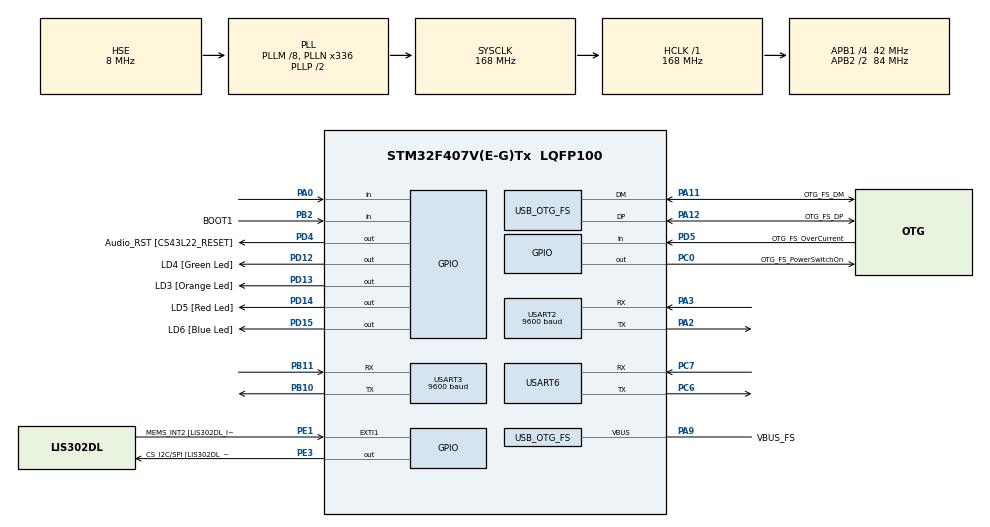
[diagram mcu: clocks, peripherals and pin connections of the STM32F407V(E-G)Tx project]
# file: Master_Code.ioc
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Mcu.Family=STM32F4
Mcu.Name=STM32F407V(E-G)Tx
Mcu.Package=LQFP100
NVIC.OTG_FS_IRQn=true\:0\:0\:false\:false\:true\:true\:true
NVIC.PriorityGroup=NVIC_PRIORITYGROUP_0
NVIC.TIM5_IRQn=true\:0\:0\:false\:false\:true\:true\:true
NVIC.USART3_IRQn=true\:0\:0\:false\:false\:true\:true\:true
NVIC.USART6_IRQn=true\:0\:0\:false\:false\:true\:true\:true
PA0-WKUP.Signal=GPIO_Input
PA11.GPIO_Label=OTG_FS_DM
PA11.GPIO_Mode=GPIO_MODE_AF_PP
PA11.GPIO_PuPd=GPIO_NOPULL
PA11.GPIO_Speed=GPIO_SPEED_FREQ_LOW
PA11.Mode=Host_Only
PA11.Signal=USB_OTG_FS_DM
PA12.GPIO_Label=OTG_FS_DP
PA12.GPIO_Mode=GPIO_MODE_AF_PP
PA12.GPIO_PuPd=GPIO_NOPULL
PA12.GPIO_Speed=GPIO_SPEED_FREQ_LOW
PA12.Mode=Host_Only
PA12.Signal=USB_OTG_FS_DP
PA13.GPIO_Label=SWDIO
PA13.Mode=Serial_Wire
PA13.Signal=SYS_JTMS-SWDIO
PA14.GPIO_Label=SWCLK
PA14.Mode=Serial_Wire
PA14.Signal=SYS_JTCK-SWCLK
PA2.Mode=Asynchronous
PA2.Signal=USART2_TX
PA3.Mode=Asynchronous
PA3.Signal=USART2_RX
PA9.GPIO_Label=VBUS_FS
PA9.GPIO_Mode=GPIO_MODE_INPUT
PA9.GPIO_PuPd=GPIO_NOPULL
PA9.Mode=Activate_VBUS
PA9.Signal=USB_OTG_FS_VBUS
PB10.Mode=Asynchronous
PB10.Signal=USART3_TX
PB11.Mode=Asynchronous
PB11.Signal=USART3_RX
PB2.GPIO_Label=BOOT1
PB2.GPIO_Mode=GPIO_MODE_INPUT
PB2.GPIO_PuPd=GPIO_NOPULL
PB2.Signal=GPIO_Input
PC0.GPIO_Label=OTG_FS_PowerSwitchOn
PC0.GPIO_PuPd=GPIO_NOPULL
PC0.GPIO_Speed=GPIO_SPEED_FREQ_LOW
PC0.PinState=GPIO_PIN_SET
PC0.Signal=GPIO_Output
PC14-OSC32_IN.GPIO_Label=PC14-OSC32_IN
PC14-OSC32_IN.Mode=LSE-External-Oscillator
PC14-OSC32_IN.Signal=RCC_OSC32_IN
PC15-OSC32_OUT.GPIO_Label=PC15-OSC32_OUT
PC15-OSC32_OUT.Mode=LSE-External-Oscillator
PC15-OSC32_OUT.Signal=RCC_OSC32_OUT
PC6.Mode=Asynchronous
PC6.Signal=USART6_TX
PC7.Mode=Asynchronous
PC7.Signal=USART6_RX
PD12.GPIO_Label=LD4 [Green Led]
PD12.GPIO_PuPd=GPIO_NOPULL
PD12.GPIO_Speed=GPIO_SPEED_FREQ_LOW
PD12.Signal=GPIO_Output
PD13.GPIO_Label=LD3 [Orange Led]
PD13.GPIO_PuPd=GPIO_NOPULL
PD13.GPIO_Speed=GPIO_SPEED_FREQ_LOW
PD13.Signal=GPIO_Output
PD14.GPIO_Label=LD5 [Red Led]
PD14.GPIO_PuPd=GPIO_NOPULL
PD14.GPIO_Speed=GPIO_SPEED_FREQ_LOW
PD14.Signal=GPIO_Output
PD15.GPIO_Label=LD6 [Blue Led]
PD15.GPIO_PuPd=GPIO_NOPULL
PD15.GPIO_Speed=GPIO_SPEED_FREQ_LOW
PD15.Signal=GPIO_Output
PD4.GPIO_Label=Audio_RST [CS43L22_RESET]
PD4.GPIO_PuPd=GPIO_NOPULL
PD4.GPIO_Speed=GPIO_SPEED_FREQ_LOW
PD4.Signal=GPIO_Output
PD5.GPIO_Label=OTG_FS_OverCurrent
PD5.GPIO_Mode=GPIO_MODE_INPUT
PD5.GPIO_PuPd=GPIO_NOPULL
PD5.Signal=GPIO_Input
PE1.GPIO_Label=MEMS_INT2 [LIS302DL_INT2]
PE1.GPIO_ModeDefaultEXTI=GPIO_MODE_EVT_RISING
PE1.GPIO_PuPd=GPIO_NOPULL
PE1.Signal=GPXTI1
PE3.GPIO_Label=CS_I2C/SPI [LIS302DL_CS_I2C/SPI]
PE3.GPIO_PuPd=GPIO_NOPULL
PE3.GPIO_Speed=GPIO_SPEED_FREQ_LOW
PE3.Signal=GPIO_Output
PH0-OSC_IN.GPIO_Label=PH0-OSC_IN
PH0-OSC_IN.Mode=HSE-External-Oscillator
PH0-OSC_IN.Signal=RCC_OSC_IN
PH1-OSC_OUT.GPIO_Label=PH1-OSC_OUT
PH1-OSC_OUT.Mode=HSE-External-Oscillator
PH1-OSC_OUT.Signal=RCC_OSC_OUT
ProjectManager.HeapSize=0x200
ProjectManager.StackSize=0x400
ProjectManager.TargetToolchain=STM32CubeIDE
RCC.48MHZClocksFreq_Value=48000000
RCC.AHBFreq_Value=168000000
RCC.APB1CLKDivider=RCC_HCLK_DIV4
RCC.APB1Freq_Value=42000000
RCC.APB1TimFreq_Value=84000000
RCC.APB2CLKDivider=RCC_HCLK_DIV2
RCC.APB2Freq_Value=84000000
RCC.APB2TimFreq_Value=168000000
RCC.CortexFreq_Value=168000000
RCC.HCLKFreq_Value=168000000
RCC.HSE_VALUE=8000000
RCC.HSI_VALUE=16000000
RCC.PLLM=8
RCC.PLLN=336
RCC.PLLQ=7
RCC.SYSCLKFreq_VALUE=168000000
RCC.SYSCLKSource=RCC_SYSCLKSOURCE_PLLCLK
RCC.VCOOutputFreq_Value=336000000
TIM2.ClockDivision=TIM_CLOCKDIVISION_DIV1
TIM2.Period=100
TIM2.Prescaler=42000
TIM2.TIM_MasterOutputTrigger=TIM_TRGO_UPDATE
TIM5.Period=200
TIM5.Prescaler=41999
USART2.BaudRate=9600
USART2.VirtualMode=VM_ASYNC
USART3.BaudRate=9600
USART3.VirtualMode=VM_ASYNC
USART6.VirtualMode=VM_ASYNC
USB_HOST.BSP.number=1
USB_HOST.USBH_HandleTypeDef-CDC_FS=hUsbHostFS
USB_HOST.VirtualModeFS=Cdc
USB_HOST0.BSP.STBoard=false
USB_HOST0.BSP.api=Unknown
USB_HOST0.BSP.i2caddr=0
USB_HOST0.BSP.i2creg=0
USB_HOST0.BSP.instance=PC0
USB_HOST0.BSP.ip=GPIO
USB_HOST0.BSP.mode=Output
USB_HOST0.BSP.name=Drive_VBUS_FS
USB_HOST0.BSP.solution=PC0
USB_OTG_FS.VirtualMode=Host_Only
USB_OTG_FS.phy_itface=HCD_PHY_EMBEDDED
VP_TIM2_VS_ClockSourceINT.Mode=Internal
VP_TIM5_VS_ClockSourceINT.Mode=Internal
VP_USB_HOST_VS_USB_HOST_CDC_FS.Mode=CDC_FS
board=STM32F407G-DISC1

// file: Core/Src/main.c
/* USER CODE BEGIN Header */
/**
  ******************************************************************************
  * @file           : main.c
  * @brief          : Main program body
  ******************************************************************************
  * @attention
  *
  * <h2><center>&copy; Copyright (c) 2020 STMicroelectronics.
  * All rights reserved.</center></h2>
  *
  * This software component is licensed by ST under Ultimate Liberty license
  * SLA0044, the "License"; You may not use this file except in compliance with
  * the License. You may obtain a copy of the License at:
  *                             www.st.com/SLA0044
  *
  ******************************************************************************
  */
/* USER CODE END Header */

#include "main.h"
#include "usb_host.h"

/* USER CODE BEGIN PD */
#define MSG_MAX_LEN 16

#define SCHERM_UART huart6
#define DEBUG_UART huart2
#define SLAVE_UART huart3

#define MSG_TIM htim2
#define LED_TIM htim5

#define ACK_TIMEOUT 2000

#define LED_BLINK 3
#define LED_TOGGLE 2
#define LED_ON 1
#define LED_OFF 0

#define MODE_360 360
#define MODE_180 180

#define BLUE_LED ((uint16_t)0x8000)
#define RED_LED ((uint16_t)0x4000)
#define ORANGE_LED ((uint16_t)0x2000)
#define GREEN_LED ((uint16_t)0x1000)

#define debug

/* USER CODE END PD */

TIM_HandleTypeDef htim2;
TIM_HandleTypeDef htim5;

UART_HandleTypeDef huart2;
UART_HandleTypeDef huart3;
UART_HandleTypeDef huart6;

void SystemClock_Config(void);
static void MX_GPIO_Init(void);
static void MX_USART2_UART_Init(void);
static void MX_USART3_UART_Init(void);
static void MX_USART6_UART_Init(void);
static void MX_TIM2_Init(void);
static void MX_TIM5_Init(void);
void MX_USB_HOST_Process(void);

/* USER CODE BEGIN PFP */
char CheckTimeout(const char * valid_ans, int timeout);
char SendMessage(const char * msg);
char SendCommand(const char * cmd, const char * ans, int timeout);
void SetLed(uint16_t led_pin, uint8_t state);
/* USER CODE END PFP */

/* USER CODE BEGIN 0 */
	uint8_t rx_buff[1];
	uint8_t tx_debug[12];	// Used only for debugging
	uint8_t rec_buff[MSG_MAX_LEN];
	uint8_t msg_i = 0;				// Index for rec_buff
	uint8_t msg_flag = 0;
	uint8_t msg_enable = 0;
/* USER CODE END 0 */

int main(void)
{

  /* MCU Configuration--------------------------------------------------------*/

  /* Reset of all peripherals, Initializes the Flash interface and the Systick. */
  HAL_Init();

  /* Configure the system clock */
  SystemClock_Config();

  /* Initialize all configured peripherals */
  MX_GPIO_Init();
  MX_USART2_UART_Init();
  MX_USART3_UART_Init();
  MX_USART6_UART_Init();
  MX_USB_HOST_Init();
  MX_TIM2_Init();
  MX_TIM5_Init();
  /* USER CODE BEGIN 2 */
  HAL_UART_Receive_IT(&SLAVE_UART, rx_buff, 1);
  HAL_TIM_Base_Start_IT(&LED_TIM);

  uint8_t no_slaves = 0;
  //uint16_t mode = MODE_360;
  //uint8_t score = 0;
  uint8_t chosen_button = 0;
  char buf[12];
  char debug_msg[6];
  /* USER CODE END 2 */

  /* Infinite loop */
  while (1)
  {
    MX_USB_HOST_Process();

    /* USER CODE BEGIN 3 */
    	SetLed(GREEN_LED, LED_OFF);
    	SetLed(ORANGE_LED, LED_OFF);
    	SetLed(RED_LED, LED_OFF);

    	if(HAL_GPIO_ReadPin(GPIOA,GPIO_PIN_0))  //if user_button is pressed
    	{
    		if(no_slaves == 0) //if there are no slaves adressed
    		{
				if((SendCommand("0 ADR 1\n","SLAVE", ACK_TIMEOUT*4)))  //adress the slaves
				{
					no_slaves = atoi((char*)&rec_buff[6]);  //get the number of slaves
					#ifdef debug
						HAL_UART_Transmit(&DEBUG_UART, (uint8_t *)"addressering werkt slave s=", 27, 100);
						sprintf(debug_msg, " %d\r\n",no_slaves );
						HAL_UART_Transmit(&DEBUG_UART,(uint8_t*)debug_msg , 6, 100);
					#endif
				}
				else
				{
					#ifdef debug
						HAL_UART_Transmit(&DEBUG_UART, (uint8_t *)"addressering werkt_niet\r\n", 23, 100);
					#endif
				}
    		}

			if(no_slaves && (chosen_button<no_slaves)) //if there are slaves, and the current chosen slave exists
			{
				chosen_button++; //increment the chosen button
				#ifdef debug
					HAL_UART_Transmit(&DEBUG_UART, (uint8_t *)"Test knop =", 23, 100);
					sprintf(debug_msg, "%d\r\n",chosen_button );
					HAL_UART_Transmit(&DEBUG_UART,(uint8_t*)debug_msg , 6, 100);
				#endif
			}
			else
			{
				chosen_button=1; //set the chosen button to the first slave
			}

			sprintf(buf, "0 ON %d\n", chosen_button);
			if(SendCommand(buf, "PRESSED", 10000)) //activate the chosen slave
			{
				if((atoi((char*)&rec_buff[8]) == chosen_button)) //if the correct button is pressed
				{
					#ifdef debug
						HAL_UART_Transmit(&DEBUG_UART, (uint8_t *)"Knop ", 23, 100);
						sprintf(debug_msg, "%d", chosen_button);
						HAL_UART_Transmit(&DEBUG_UART,(uint8_t*)debug_msg , 2, 100);
						HAL_UART_Transmit(&DEBUG_UART, (uint8_t *)"werkt\r\n", 23, 100);
					#endif
				}
			else
				HAL_Delay(250); //generic delay

			SendMessage("0 OFF\n"); //deactivate all slaves
			}
		}
  }
  /* USER CODE END 3 */
}

void SystemClock_Config(void)
{
  RCC_OscInitTypeDef RCC_OscInitStruct = {0};
  RCC_ClkInitTypeDef RCC_ClkInitStruct = {0};

  /** Configure the main internal regulator output voltage
  */
  __HAL_RCC_PWR_CLK_ENABLE();
  __HAL_PWR_VOLTAGESCALING_CONFIG(PWR_REGULATOR_VOLTAGE_SCALE1);
  /** Initializes the CPU, AHB and APB busses clocks
  */
  RCC_OscInitStruct.OscillatorType = RCC_OSCILLATORTYPE_HSE;
  RCC_OscInitStruct.HSEState = RCC_HSE_ON;
  RCC_OscInitStruct.PLL.PLLState = RCC_PLL_ON;
  RCC_OscInitStruct.PLL.PLLSource = RCC_PLLSOURCE_HSE;
  RCC_OscInitStruct.PLL.PLLM = 8;
  RCC_OscInitStruct.PLL.PLLN = 336;
  RCC_OscInitStruct.PLL.PLLP = RCC_PLLP_DIV2;
  RCC_OscInitStruct.PLL.PLLQ = 7;
  if (HAL_RCC_OscConfig(&RCC_OscInitStruct) != HAL_OK)
  {
    Error_Handler();
  }
  /** Initializes the CPU, AHB and APB busses clocks
  */
  RCC_ClkInitStruct.ClockType = RCC_CLOCKTYPE_HCLK|RCC_CLOCKTYPE_SYSCLK
                              |RCC_CLOCKTYPE_PCLK1|RCC_CLOCKTYPE_PCLK2;
  RCC_ClkInitStruct.SYSCLKSource = RCC_SYSCLKSOURCE_PLLCLK;
  RCC_ClkInitStruct.AHBCLKDivider = RCC_SYSCLK_DIV1;
  RCC_ClkInitStruct.APB1CLKDivider = RCC_HCLK_DIV4;
  RCC_ClkInitStruct.APB2CLKDivider = RCC_HCLK_DIV2;

  if (HAL_RCC_ClockConfig(&RCC_ClkInitStruct, FLASH_LATENCY_5) != HAL_OK)
  {
    Error_Handler();
  }
}

static void MX_TIM2_Init(void)
{

  TIM_ClockConfigTypeDef sClockSourceConfig = {0};
  TIM_MasterConfigTypeDef sMasterConfig = {0};

  htim2.Instance = TIM2;
  htim2.Init.Prescaler = 42000;
  htim2.Init.CounterMode = TIM_COUNTERMODE_UP;
  htim2.Init.Period = 100;
  htim2.Init.ClockDivision = TIM_CLOCKDIVISION_DIV1;
  htim2.Init.AutoReloadPreload = TIM_AUTORELOAD_PRELOAD_DISABLE;
  if (HAL_TIM_Base_Init(&htim2) != HAL_OK)
  {
    Error_Handler();
  }
  sClockSourceConfig.ClockSource = TIM_CLOCKSOURCE_INTERNAL;
  if (HAL_TIM_ConfigClockSource(&htim2, &sClockSourceConfig) != HAL_OK)
  {
    Error_Handler();
  }
  sMasterConfig.MasterOutputTrigger = TIM_TRGO_UPDATE;
  sMasterConfig.MasterSlaveMode = TIM_MASTERSLAVEMODE_DISABLE;
  if (HAL_TIMEx_MasterConfigSynchronization(&htim2, &sMasterConfig) != HAL_OK)
  {
    Error_Handler();
  }

}

static void MX_TIM5_Init(void)
{

  TIM_ClockConfigTypeDef sClockSourceConfig = {0};
  TIM_MasterConfigTypeDef sMasterConfig = {0};

  htim5.Instance = TIM5;
  htim5.Init.Prescaler = 41999;
  htim5.Init.CounterMode = TIM_COUNTERMODE_UP;
  htim5.Init.Period = 200;
  htim5.Init.ClockDivision = TIM_CLOCKDIVISION_DIV1;
  htim5.Init.AutoReloadPreload = TIM_AUTORELOAD_PRELOAD_DISABLE;
  if (HAL_TIM_Base_Init(&htim5) != HAL_OK)
  {
    Error_Handler();
  }
  sClockSourceConfig.ClockSource = TIM_CLOCKSOURCE_INTERNAL;
  if (HAL_TIM_ConfigClockSource(&htim5, &sClockSourceConfig) != HAL_OK)
  {
    Error_Handler();
  }
  sMasterConfig.MasterOutputTrigger = TIM_TRGO_RESET;
  sMasterConfig.MasterSlaveMode = TIM_MASTERSLAVEMODE_DISABLE;
  if (HAL_TIMEx_MasterConfigSynchronization(&htim5, &sMasterConfig) != HAL_OK)
  {
    Error_Handler();
  }

}

static void MX_USART2_UART_Init(void)
{

  huart2.Instance = USART2;
  huart2.Init.BaudRate = 9600;
  huart2.Init.WordLength = UART_WORDLENGTH_8B;
  huart2.Init.StopBits = UART_STOPBITS_1;
  huart2.Init.Parity = UART_PARITY_NONE;
  huart2.Init.Mode = UART_MODE_TX_RX;
  huart2.Init.HwFlowCtl = UART_HWCONTROL_NONE;
  huart2.Init.OverSampling = UART_OVERSAMPLING_16;
  if (HAL_UART_Init(&huart2) != HAL_OK)
  {
    Error_Handler();
  }

}

static void MX_USART3_UART_Init(void)
{

  huart3.Instance = USART3;
  huart3.Init.BaudRate = 9600;
  huart3.Init.WordLength = UART_WORDLENGTH_8B;
  huart3.Init.StopBits = UART_STOPBITS_1;
  huart3.Init.Parity = UART_PARITY_NONE;
  huart3.Init.Mode = UART_MODE_TX_RX;
  huart3.Init.HwFlowCtl = UART_HWCONTROL_NONE;
  huart3.Init.OverSampling = UART_OVERSAMPLING_16;
  if (HAL_UART_Init(&huart3) != HAL_OK)
  {
    Error_Handler();
  }

}

static void MX_USART6_UART_Init(void)
{

  huart6.Instance = USART6;
  huart6.Init.BaudRate = 115200;
  huart6.Init.WordLength = UART_WORDLENGTH_8B;
  huart6.Init.StopBits = UART_STOPBITS_1;
  huart6.Init.Parity = UART_PARITY_NONE;
  huart6.Init.Mode = UART_MODE_TX_RX;
  huart6.Init.HwFlowCtl = UART_HWCONTROL_NONE;
  huart6.Init.OverSampling = UART_OVERSAMPLING_16;
  if (HAL_UART_Init(&huart6) != HAL_OK)
  {
    Error_Handler();
  }

}

static void MX_GPIO_Init(void)
{
  GPIO_InitTypeDef GPIO_InitStruct = {0};

  /* GPIO Ports Clock Enable */
  __HAL_RCC_GPIOE_CLK_ENABLE();
  __HAL_RCC_GPIOC_CLK_ENABLE();
  __HAL_RCC_GPIOH_CLK_ENABLE();
  __HAL_RCC_GPIOA_CLK_ENABLE();
  __HAL_RCC_GPIOB_CLK_ENABLE();
  __HAL_RCC_GPIOD_CLK_ENABLE();

  /*Configure GPIO pin Output Level */
  HAL_GPIO_WritePin(CS_I2C_SPI_GPIO_Port, CS_I2C_SPI_Pin, GPIO_PIN_RESET);

  /*Configure GPIO pin Output Level */
  HAL_GPIO_WritePin(OTG_FS_PowerSwitchOn_GPIO_Port, OTG_FS_PowerSwitchOn_Pin, GPIO_PIN_SET);

  /*Configure GPIO pin Output Level */
  HAL_GPIO_WritePin(GPIOD, LD4_Pin|LD3_Pin|LD5_Pin|LD6_Pin
                          |Audio_RST_Pin, GPIO_PIN_RESET);

  /*Configure GPIO pin : CS_I2C_SPI_Pin */
  GPIO_InitStruct.Pin = CS_I2C_SPI_Pin;
  GPIO_InitStruct.Mode = GPIO_MODE_OUTPUT_PP;
  GPIO_InitStruct.Pull = GPIO_NOPULL;
  GPIO_InitStruct.Speed = GPIO_SPEED_FREQ_LOW;
  HAL_GPIO_Init(CS_I2C_SPI_GPIO_Port, &GPIO_InitStruct);

  /*Configure GPIO pin : OTG_FS_PowerSwitchOn_Pin */
  GPIO_InitStruct.Pin = OTG_FS_PowerSwitchOn_Pin;
  GPIO_InitStruct.Mode = GPIO_MODE_OUTPUT_PP;
  GPIO_InitStruct.Pull = GPIO_NOPULL;
  GPIO_InitStruct.Speed = GPIO_SPEED_FREQ_LOW;
  HAL_GPIO_Init(OTG_FS_PowerSwitchOn_GPIO_Port, &GPIO_InitStruct);

  /*Configure GPIO pin : PA0 */
  GPIO_InitStruct.Pin = GPIO_PIN_0;
  GPIO_InitStruct.Mode = GPIO_MODE_INPUT;
  GPIO_InitStruct.Pull = GPIO_NOPULL;
  HAL_GPIO_Init(GPIOA, &GPIO_InitStruct);

  /*Configure GPIO pin : BOOT1_Pin */
  GPIO_InitStruct.Pin = BOOT1_Pin;
  GPIO_InitStruct.Mode = GPIO_MODE_INPUT;
  GPIO_InitStruct.Pull = GPIO_NOPULL;
  HAL_GPIO_Init(BOOT1_GPIO_Port, &GPIO_InitStruct);

  /*Configure GPIO pins : LD4_Pin LD3_Pin LD5_Pin LD6_Pin
                           Audio_RST_Pin */
  GPIO_InitStruct.Pin = LD4_Pin|LD3_Pin|LD5_Pin|LD6_Pin
                          |Audio_RST_Pin;
  GPIO_InitStruct.Mode = GPIO_MODE_OUTPUT_PP;
  GPIO_InitStruct.Pull = GPIO_NOPULL;
  GPIO_InitStruct.Speed = GPIO_SPEED_FREQ_LOW;
  HAL_GPIO_Init(GPIOD, &GPIO_InitStruct);

  /*Configure GPIO pin : OTG_FS_OverCurrent_Pin */
  GPIO_InitStruct.Pin = OTG_FS_OverCurrent_Pin;
  GPIO_InitStruct.Mode = GPIO_MODE_INPUT;
  GPIO_InitStruct.Pull = GPIO_NOPULL;
  HAL_GPIO_Init(OTG_FS_OverCurrent_GPIO_Port, &GPIO_InitStruct);

  /*Configure GPIO pin : MEMS_INT2_Pin */
  GPIO_InitStruct.Pin = MEMS_INT2_Pin;
  GPIO_InitStruct.Mode = GPIO_MODE_EVT_RISING;
  GPIO_InitStruct.Pull = GPIO_NOPULL;
  HAL_GPIO_Init(MEMS_INT2_GPIO_Port, &GPIO_InitStruct);

}

/* USER CODE BEGIN 4 */
void HAL_UART_RxCpltCallback(UART_HandleTypeDef *huart)
{
	// Master has defined answers its looking for
	// Only listens to the message if a command has been sent
	if(!msg_enable)
	{
		HAL_UART_Receive_IT(huart, rx_buff, 1);
		return;
	}

	// Used when message is out of sync with buffer
	static uint8_t OOS_check = 0;
	if(OOS_check)
	{
		if(rx_buff[0] == '\n')
			OOS_check = 0;
	}

	// Places new byte into global array
	else if(msg_i < MSG_MAX_LEN)
	{
		// Once a new message has started, delete the old message
		if(msg_i == 0)
			memset(rec_buff, 0, sizeof(rec_buff));

    	SetLed(ORANGE_LED, LED_BLINK);

		rec_buff[msg_i] = rx_buff[0];
		if(rx_buff[0] == '\n')
		{
			if(huart == &SLAVE_UART && strcmp("ACK\n", (char*)rec_buff) != 0)
				HAL_UART_Transmit(&SLAVE_UART, (uint8_t*)"ACK\n", 4, 100);
			msg_i = 0;
			msg_flag = 1;
		}
		else
		{
			msg_i++;
		}
	}

	// Exception clause for handling messages larger than the dedicated buffer
	// Message will be discarded and the buffer won't be read
	else
	{
		msg_i = 0;
		if(rx_buff[0] != '\n')

			OOS_check = 1;
	}

	// Reads the next byte
	HAL_UART_Receive_IT(huart, rx_buff, 1);
}

char CheckTimeout(const char * valid_ans, int timeout)
{
	msg_enable = 1;		// Allows communication to the master
	int tim_cnt = 0;	// Keeps a count of how many times the timer updated, this happens every 100ms

	// Starts the timer for the timeout function.
	// Clears flag as a precaution
	HAL_TIM_Base_Start(&MSG_TIM);
	__HAL_TIM_CLEAR_FLAG(&MSG_TIM, TIM_FLAG_UPDATE);

	// When a message has been received "msg_flag" will be 1
	// This loop will count for "timeout" milliseconds
	while(msg_flag == 0 && tim_cnt < (int)((float)timeout/100))
	{
		if(__HAL_TIM_GET_FLAG(&MSG_TIM, TIM_FLAG_UPDATE))
		{
			tim_cnt++;
			__HAL_TIM_CLEAR_FLAG(&MSG_TIM, TIM_FLAG_UPDATE);
		}
	}

	// Stops the timer and resets the counter
	HAL_TIM_Base_Stop(&MSG_TIM);
	__HAL_TIM_SET_COUNTER(&MSG_TIM, 0);

	// Disables any other incoming messages
	msg_enable = 0;

	// Reads the incoming message (if received), and compares it to the expected answer
	if(msg_flag)
	{
		msg_flag = 0;
#ifdef debug
		HAL_UART_Transmit(&DEBUG_UART, (uint8_t*) "Received: ", 10, 100);
		HAL_UART_Transmit(&DEBUG_UART, (uint8_t*) rec_buff, strlen((char*)rec_buff), 100);
#endif
		if(strstr((char*)rec_buff, valid_ans) != NULL)
			return 1;
#ifdef debug
		else
			HAL_UART_Transmit(&DEBUG_UART, (uint8_t*) "Wrong Answer\n", 13, 100);
#endif
	}
#ifdef debug
	else
		HAL_UART_Transmit(&DEBUG_UART, (uint8_t*) "Timeout\n", 8, 100);
#endif

	// if the earlier return statement didn't fire, return 0, indicating either a timeout or a wrong answer
	return 0;		// implicit else

}

char SendMessage(const char * msg)
{
#ifdef debug
	HAL_UART_Transmit(&DEBUG_UART, (uint8_t*) "Sent: ", 6, 10);
	HAL_UART_Transmit(&DEBUG_UART, (uint8_t*) msg, strlen(msg), 100);
#else
	HAL_Delay(50);
#endif

	// Every message sent requires "ACK\n" as an answer.
	// Master only sends messages to slaves this way, as the screen doesn't require acknowledgement
	SetLed(ORANGE_LED, LED_BLINK);
	strcpy((char*)tx_debug, (char*)msg);
	HAL_UART_Transmit(&SLAVE_UART, (uint8_t*) msg, strlen(msg), 100);
	return (CheckTimeout("ACK\n", ACK_TIMEOUT));
}

char SendCommand(const char * cmd, const char * ans, int timeout)
{
	if(SendMessage(cmd))
	{
		if(ans != NULL)
		{
			if(CheckTimeout(ans, timeout))
			{
				return 1;
			}
		}
		else
			return 1;
	}
	return 0;
}

void SetLed(uint16_t led_pin, uint8_t state)
{
	if(state == LED_TOGGLE)
		HAL_GPIO_TogglePin(GPIOD, led_pin);

	if(state == LED_ON)
    	HAL_GPIO_WritePin(GPIOD, led_pin, GPIO_PIN_SET);

	if(state == LED_OFF)
    	HAL_GPIO_WritePin(GPIOD, led_pin, GPIO_PIN_RESET);

	if(led_pin == ORANGE_LED && state == LED_BLINK)
	{
		HAL_GPIO_WritePin(GPIOD, led_pin, GPIO_PIN_SET);
		__HAL_RCC_TIM5_CLK_ENABLE();
		HAL_TIM_Base_Start_IT(&LED_TIM);
		__HAL_TIM_SET_COUNTER(&LED_TIM, 0);
	}
}

/* USER CODE END 4 */

void Error_Handler(void)
{
}

/************************ (C) COPYRIGHT STMicroelectronics *****END OF FILE****/
